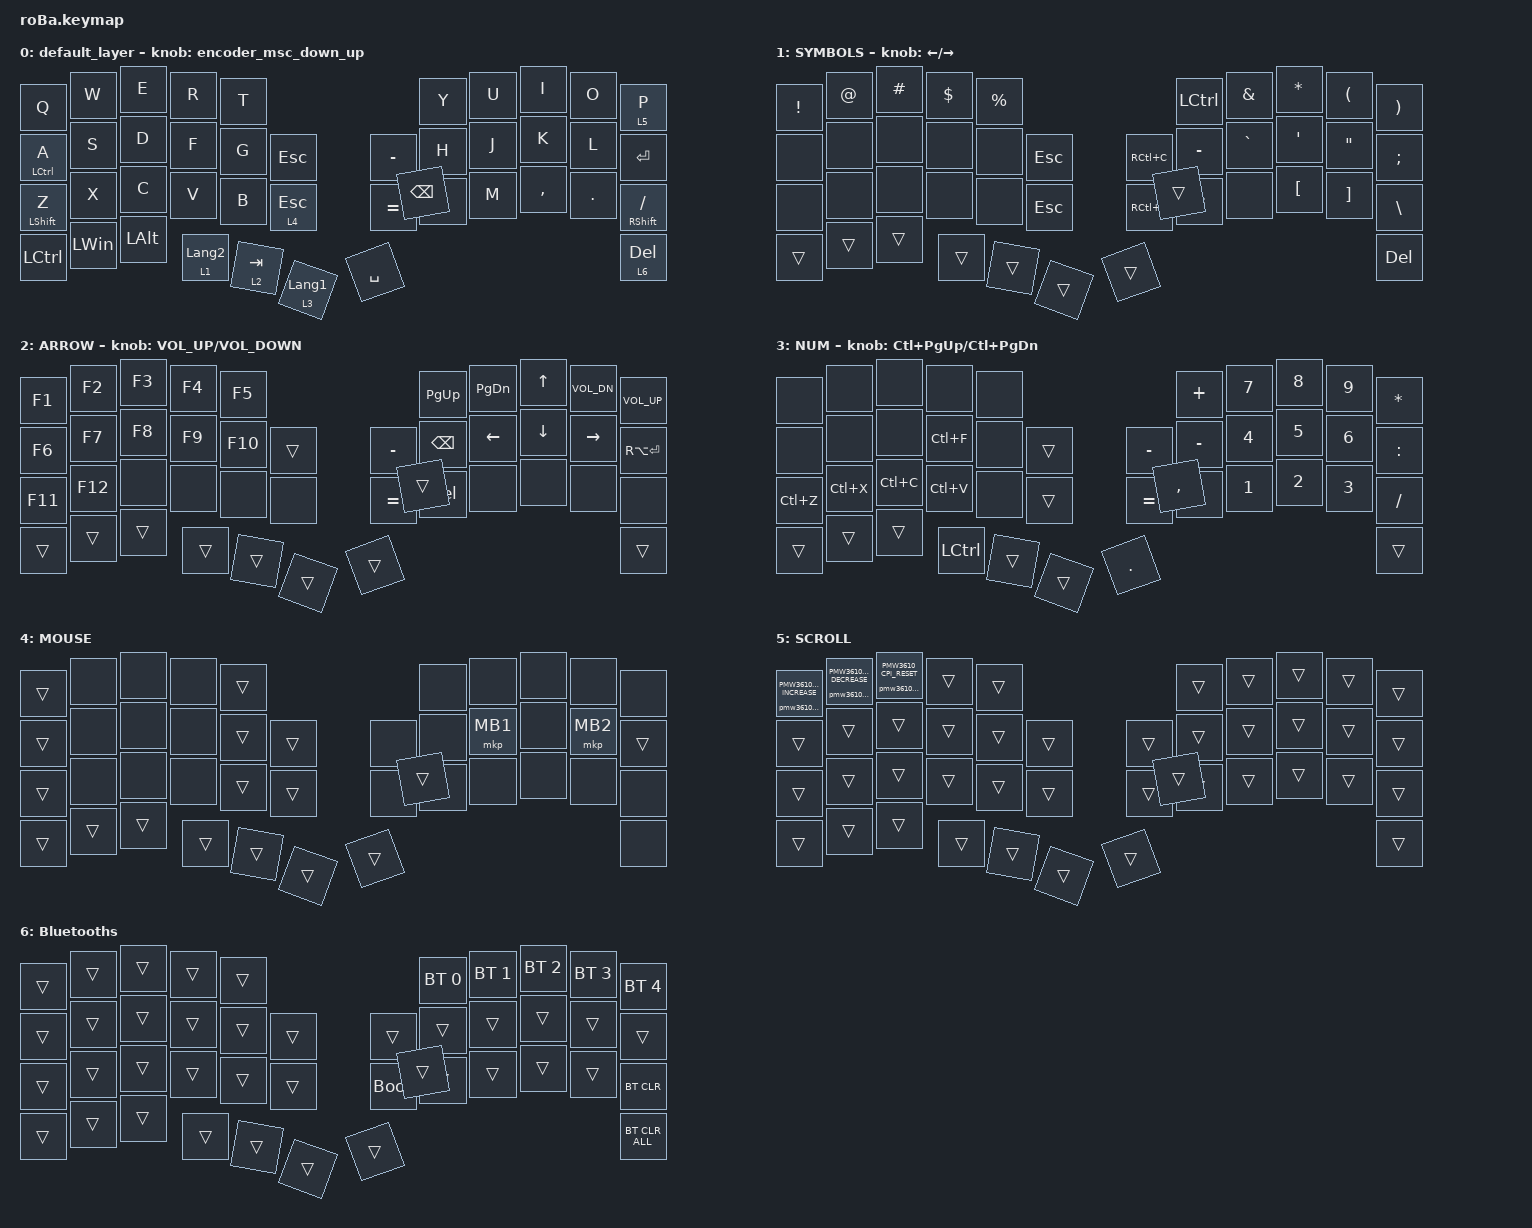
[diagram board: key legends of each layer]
#include <behaviors.dtsi>
#include <dt-bindings/zmk/bt.h>
#include <dt-bindings/zmk/keys.h>
#include <dt-bindings/zmk/pmw3610-cpi.h>
#include <dt-bindings/zmk/pointing.h>

#define MOUSE 4
#define SCROLL 5
#define NUM 6

#undef ZMK_POINTING_DEFAULT_SCRL_VAL

#define ZMK_POINTING_DEFAULT_SCRL_VAL 64

&mt {
    flavor = "tap-preferred";
    tapping-term-ms = <150>;
    quick-tap-ms = <120>;
    retro-tap;
};

&lt {
    flavor = "tap-preferred";
    tapping-term-ms = <180>;
    quick-tap-ms = <140>;
    retro-tap;
};

/ {
    behavior-flags { global-quick-tap-ms = <140>; };

    combos {
        compatible = "zmk,combos";
        timeout-ms = <26>;

        tab {
            bindings = <&kp TAB>;
            key-positions = <11 12>;
        };

        shift_tab {
            bindings = <&kp LS(TAB)>;
            key-positions = <12 13>;
        };

        double_quotation {
            bindings = <&kp DOUBLE_QUOTES>;
            key-positions = <20 21>;
        };

        eq {
            bindings = <&kp EQUAL>;
            key-positions = <24 25>;
        };
    };

    macros {
        to_layer_0: to_layer_0 {
            compatible = "zmk,behavior-macro-one-param";
            #binding-cells = <1>;
            bindings = <&to 0 &macro_param_1to1 &kp MACRO_PLACEHOLDER>;
        };

        mkp_exit_AML: mkp_exit_AML {
            compatible = "zmk,behavior-macro-one-param";
            #binding-cells = <1>;
            bindings =
                <&macro_press>,
                <&macro_param_1to1 &mkp MACRO_PLACEHOLDER>,
                <&macro_pause_for_release>,
                <&macro_release>,
                <&macro_param_1to1 &mkp MACRO_PLACEHOLDER>,
                <&macro_tap>,
                <&sl 4>;
        };
    };

    behaviors {
        a_mt: a_mt {
            compatible = "zmk,behavior-hold-tap";
            bindings = <&kp>, <&kp>;

            #binding-cells = <2>;
            flavor = "tap-preferred";
            tapping-term-ms = <150>;
            quick-tap-ms = <120>;
            require-prior-idle-ms = <120>;
            retro-tap;
        };

        lt_to_layer_0: lt_to_layer_0 {
            compatible = "zmk,behavior-hold-tap";
            bindings = <&mo>, <&to_layer_0>;

            #binding-cells = <2>;
            tapping-term-ms = <180>;
        };

        // 新しいスクロール動作の追加

        encoder_msc_down_up: encoder_msc_down_up {
            compatible = "zmk,behavior-sensor-rotate";
            #sensor-binding-cells = <0>;
            bindings = <&msc SCRL_DOWN>, <&msc SCRL_UP>;

            tap-ms = <18>;
        };

        tap_block_mouse_layer: tap_block_mouse_layer {
            compatible = "zmk,behavior-tap-block";
            timeout-ms = <250>;
        };

        pmw3610_cpi: pmw3610_cpi {
            compatible = "zmk,behavior-pmw3610-cpi";
            #binding-cells = <1>;
        };
    };

    keymap {
        compatible = "zmk,keymap";

        default_layer {
            bindings = <
&kp Q               &kp W         &kp E         &kp R             &kp T                                       &kp Y            &kp U  &kp I      &kp O    &lt 5 P
&a_mt LEFT_CONTROL A &kp S         &kp D         &kp F             &kp G      &kp ESC               &kp MINUS  &kp H            &kp J  &kp K      &kp L    &kp ENTER
&mt LEFT_SHIFT Z    &kp X         &kp C         &kp V             &kp B      &lt 4 ESCAPE          &kp EQUAL  &kp N            &kp M  &kp COMMA  &kp DOT  &mt RIGHT_SHIFT SLASH
&kp LCTRL           &kp LEFT_WIN  &kp LEFT_ALT  &lt 1 LANGUAGE_2  &lt 2 TAB  &lt 3 LANGUAGE_1      &kp SPACE  &kp BACKSPACE                               &lt 6 DEL
            >;

            sensor-bindings = <&encoder_msc_down_up>;
        };

        SYMBOLS {
            bindings = <
&kp EXCLAMATION  &kp AT_SIGN  &kp HASH  &kp DOLLAR  &kp PERCENT                             &kp LCTRL  &kp AMPERSAND  &kp ASTERISK      &kp LEFT_PARENTHESIS  &kp RIGHT_PARENTHESIS
&none            &none        &none     &none       &none        &kp ESC         &kp RC(C)  &kp MINUS  &kp GRAVE      &kp SQT           &kp DQT               &kp SEMICOLON
&none            &none        &none     &none       &none        &kp ESCAPE      &kp RC(V)  &kp EQUAL  &none          &kp LEFT_BRACKET  &kp RIGHT_BRACKET     &kp BSLH
&trans           &trans       &trans    &trans      &trans       &trans          &trans     &trans                                                            &kp DEL
            >;

            sensor-bindings = <&inc_dec_kp LEFT RIGHT>;
        };

        ARROW {
            bindings = <
&kp F1   &kp F2   &kp F3  &kp F4  &kp F5                          &kp PG_UP      &kp PAGE_DOWN   &kp UP          &kp C_VOL_DN  &kp C_VOL_UP
&kp F6   &kp F7   &kp F8  &kp F9  &kp F10  &trans      &kp MINUS  &kp BACKSPACE  &kp LEFT_ARROW  &kp DOWN_ARROW  &kp RIGHT     &kp RA(ENTER)
&kp F11  &kp F12  &none   &none   &none    &none       &kp EQUAL  &kp DEL        &none           &none           &none         &none
&trans   &trans   &trans  &trans  &trans   &trans      &trans     &trans                                                       &trans
            >;

            sensor-bindings = <&inc_dec_kp C_VOLUME_UP C_VOLUME_DOWN>;
        };

        NUM {
            bindings = <
&none      &none      &none      &none             &none                           &kp PLUS   &kp N7        &kp N8        &kp N9        &kp ASTRK
&none      &none      &none      &kp LC(F)         &none   &trans      &kp MINUS   &kp MINUS  &kp NUMBER_4  &kp N5        &kp NUMBER_6  &kp COLON
&kp LC(Z)  &kp LC(X)  &kp LC(C)  &kp LC(V)         &none   &trans      &kp EQUAL   &kp N0     &kp NUMBER_1  &kp NUMBER_2  &kp NUMBER_3  &kp SLASH
&trans     &trans     &trans     &kp LEFT_CONTROL  &trans  &trans      &kp PERIOD  &kp COMMA                                            &trans
            >;

            sensor-bindings = <&inc_dec_kp LC(PAGE_UP) LC(PAGE_DOWN)>;
        };

        MOUSE {
            bindings = <
&trans  &none   &none   &none   &trans                      &none  &none     &none  &none     &none
&trans  &none   &none   &none   &trans  &trans      &none   &none  &mkp MB1  &none  &mkp MB2  &trans
&trans  &none   &none   &none   &trans  &trans      &none   &none  &none     &none  &none     &none
&trans  &trans  &trans  &trans  &trans  &trans      &trans  &trans                            &none
            >;
        };

        SCROLL {
            bindings = <
&pmw3610_cpi PMW3610_CPI_INCREASE  &pmw3610_cpi PMW3610_CPI_DECREASE  &pmw3610_cpi PMW3610_CPI_RESET  &trans  &trans                      &trans  &trans  &trans  &trans  &trans
&trans  &trans  &trans  &trans  &trans  &trans      &trans  &trans  &trans  &trans  &trans  &trans
&trans  &trans  &trans  &trans  &trans  &trans      &trans  &trans  &trans  &trans  &trans  &trans
&trans  &trans  &trans  &trans  &trans  &trans      &trans  &trans                          &trans
            >;
        };

        Bluetooths {
            bindings = <
&trans  &trans  &trans  &trans  &trans                           &bt BT_SEL 0  &bt BT_SEL 1  &bt BT_SEL 2  &bt BT_SEL 3  &bt BT_SEL 4
&trans  &trans  &trans  &trans  &trans  &trans      &trans       &trans        &trans        &trans        &trans        &trans
&trans  &trans  &trans  &trans  &trans  &trans      &bootloader  &trans        &trans        &trans        &trans        &bt BT_CLR
&trans  &trans  &trans  &trans  &trans  &trans      &trans       &trans                                                  &bt BT_CLR_ALL
            >;
        };
    };
};
